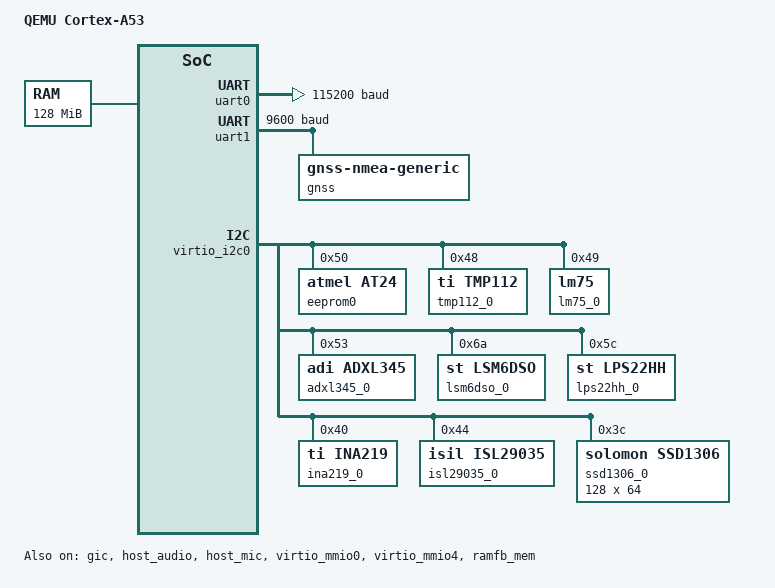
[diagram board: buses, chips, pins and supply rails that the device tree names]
/dts-v1/;

/ {
	#address-cells = <0x2>;
	#size-cells = <0x2>;
	model = "QEMU Cortex-A53";
	compatible = "linux,dummy-virt";

	chosen {
		zephyr,console = &uart0;
		zephyr,shell-uart = &uart0;
		zephyr,sram = &sram0;
	};

	aliases {
		gnss = &gnss;
		dmic0 = &host_mic;
		accel0 = &adxl345_0;
	};

	cpus {
		#address-cells = <0x1>;
		#size-cells = <0x0>;

		cpu@0 {
			device_type = "cpu";
			compatible = "arm,cortex-a53";
			reg = <0x0>;
		};
	};

	sram0: memory@40000000 {
		device_type = "memory";
		compatible = "mmio-sram";
		reg = < 0x0 0x40000000 0x0 0x8000000 >;
	};

	soc {
		#address-cells = <0x2>;
		#size-cells = <0x2>;
		compatible = "simple-bus";
		ranges;

		gic: interrupt-controller@8000000 {
			compatible = "arm,gic-v3";
			reg = < 0x0 0x8000000 0x0 0x10000 0x0 0x80a0000 0x0 0xf60000 >;
			interrupt-controller;
			#interrupt-cells = <0x4>;
			status = "okay";
		};

		uart0: uart@9000000 {
			compatible = "arm,pl011";
			reg = < 0x0 0x9000000 0x0 0x1000 >;
			interrupts = < 0x0 0x1 0x4 0xa0 >;
			status = "okay";
			current-speed = <0x1c200>;
		};

		uart1: uart@9040000 {
			compatible = "arm,pl011";
			reg = < 0x0 0x9040000 0x0 0x1000 >;
			interrupts = < 0x0 0x8 0x4 0xa0 >;
			interrupt-names = "irq_0";
			current-speed = <0x2580>;
			status = "okay";

			gnss: gnss-nmea-generic {
				compatible = "gnss-nmea-generic";
			};
		};

		host_audio: audio@90d0000 {
			compatible = "qemu,host-audio";
			reg = < 0x0 0x90d0000 0x0 0x1000 >;
			status = "okay";
		};

		host_mic: audio@90e0000 {
			compatible = "qemu,host-mic";
			reg = < 0x0 0x90e0000 0x0 0x1000 >;
			status = "okay";
		};

		virtio_mmio0: virtio_mmio@a000000 {
			compatible = "virtio,mmio";
			reg = < 0x0 0xa000000 0x0 0x200 >;
			interrupts = < 0x0 0x10 0x1 0xa0 >;
			status = "okay";

			virtio_net0: virtio-net {
				compatible = "virtio,net";
				local-mac-address = [ 02 00 00 00 00 01 ];
				status = "okay";
			};
		};

		virtio_mmio1: virtio_mmio@a000200 {
			compatible = "virtio,mmio";
			reg = < 0x0 0xa000200 0x0 0x200 >;
			interrupts = < 0x0 0x11 0x1 0xa0 >;
			status = "disabled";

			virtio_gpu0: virtio-gpu {
				compatible = "virtio,gpu";
				memory-region = < &ramfb_mem >;
				width = <0x258>;
				height = <0x190>;
				status = "disabled";
			};
		};

		virtio_mmio2: virtio_mmio@a000400 {
			compatible = "virtio,mmio";
			reg = < 0x0 0xa000400 0x0 0x200 >;
			interrupts = < 0x0 0x12 0x1 0xa0 >;
			status = "disabled";

			virtio_gpio0: virtio-gpio {
				compatible = "virtio,gpio";
				gpio-controller;
				#gpio-cells = <0x2>;
				ngpios = <0x8>;
				status = "disabled";
			};
		};

		virtio_mmio4: virtio_mmio@a000800 {
			compatible = "virtio,mmio";
			reg = < 0x0 0xa000800 0x0 0x200 >;
			interrupts = < 0x0 0x14 0x1 0xa0 >;
			status = "okay";

			virtio_i2c0: virtio-i2c {
				compatible = "virtio,i2c";
				#address-cells = <0x1>;
				#size-cells = <0x0>;
				status = "okay";

				eeprom0: eeprom@50 {
					compatible = "atmel,at24";
					reg = <0x50>;
					size = <0x100>;
					pagesize = <0x8>;
					address-width = <0x8>;
					timeout = <0x5>;
					status = "okay";
				};

				tmp112_0: tmp112@48 {
					compatible = "ti,tmp112";
					reg = <0x48>;
					status = "okay";
				};

				lm75_0: lm75@49 {
					compatible = "lm75";
					reg = <0x49>;
					status = "okay";
				};

				adxl345_0: adxl345@53 {
					compatible = "adi,adxl345";
					reg = <0x53>;
					status = "okay";
				};

				lsm6dso_0: lsm6dso@6a {
					compatible = "st,lsm6dso";
					reg = <0x6a>;
					status = "okay";
				};

				lps22hh_0: lps22hh@5c {
					compatible = "st,lps22hh";
					reg = <0x5c>;
					status = "okay";
				};

				ina219_0: ina219@40 {
					compatible = "ti,ina219";
					reg = <0x40>;
					brng = <0x0>;
					pg = <0x0>;
					sadc = <0xd>;
					badc = <0xd>;
					shunt-milliohm = <0x64>;
					lsb-microamp = <0xa>;
					status = "okay";
				};

				isl29035_0: isl29035@44 {
					compatible = "isil,isl29035";
					reg = <0x44>;
					status = "okay";
				};

				ssd1306_0: ssd1306@3c {
					compatible = "solomon,ssd1306";
					reg = <0x3c>;
					width = <0x80>;
					height = <0x40>;
					segment-offset = <0x0>;
					page-offset = <0x0>;
					display-offset = <0x0>;
					multiplex-ratio = <0x3f>;
					prechargep = <0x22>;
					segment-remap;
					com-invdir;
					status = "okay";
				};
			};
		};

		ramfb_mem: memory@47c00000 {
			compatible = "zephyr,memory-region";
			reg = < 0x0 0x47c00000 0x0 0x400000 >;
			zephyr,memory-region = "RAMFB";
			status = "okay";
		};

		ramfb0: ramfb {
			compatible = "qemu,ramfb";
			width = <0x258>;
			height = <0x190>;
			status = "okay";
		};
	};
};
